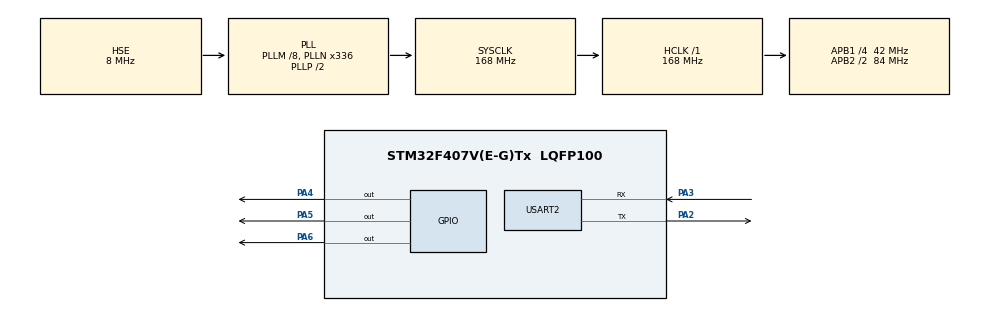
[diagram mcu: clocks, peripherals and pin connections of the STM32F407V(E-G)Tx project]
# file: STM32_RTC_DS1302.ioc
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Mcu.Family=STM32F4
Mcu.Name=STM32F407V(E-G)Tx
Mcu.Package=LQFP100
NVIC.PriorityGroup=NVIC_PRIORITYGROUP_0
PA13.Mode=Serial_Wire
PA13.Signal=SYS_JTMS-SWDIO
PA14.Mode=Serial_Wire
PA14.Signal=SYS_JTCK-SWCLK
PA2.Mode=Asynchronous
PA2.Signal=USART2_TX
PA3.Mode=Asynchronous
PA3.Signal=USART2_RX
PA4.Signal=GPIO_Output
PA5.Signal=GPIO_Output
PA6.Signal=GPIO_Output
PH0-OSC_IN.Mode=HSE-External-Oscillator
PH0-OSC_IN.Signal=RCC_OSC_IN
PH1-OSC_OUT.Mode=HSE-External-Oscillator
PH1-OSC_OUT.Signal=RCC_OSC_OUT
ProjectManager.HeapSize=0x200
ProjectManager.StackSize=0x400
ProjectManager.TargetToolchain=STM32CubeIDE
RCC.48MHZClocksFreq_Value=48000000
RCC.AHBFreq_Value=168000000
RCC.APB1CLKDivider=RCC_HCLK_DIV4
RCC.APB1Freq_Value=42000000
RCC.APB1TimFreq_Value=84000000
RCC.APB2CLKDivider=RCC_HCLK_DIV2
RCC.APB2Freq_Value=84000000
RCC.APB2TimFreq_Value=168000000
RCC.CortexFreq_Value=168000000
RCC.HCLKFreq_Value=168000000
RCC.HSE_VALUE=8000000
RCC.HSI_VALUE=16000000
RCC.LSE_VALUE=32768
RCC.PLLM=8
RCC.PLLN=336
RCC.PLLQ=7
RCC.PLLSourceVirtual=RCC_PLLSOURCE_HSE
RCC.SYSCLKFreq_VALUE=168000000
RCC.SYSCLKSource=RCC_SYSCLKSOURCE_PLLCLK
RCC.VCOOutputFreq_Value=336000000
USART2.VirtualMode=VM_ASYNC
board=STM32F407G-DISC1

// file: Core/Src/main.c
/* USER CODE BEGIN Header */
/**
  ******************************************************************************
  * @file           : main.c
  * @brief          : Main program body
  ******************************************************************************
  * @attention
  *
  * Copyright (c) 2025 STMicroelectronics.
  * All rights reserved.
  *
  * This software is licensed under terms that can be found in the LICENSE file
  * in the root directory of this software component.
  * If no LICENSE file comes with this software, it is provided AS-IS.
  *
  ******************************************************************************
  */
/* USER CODE END Header */
#include "main.h"

UART_HandleTypeDef huart2;

void SystemClock_Config(void);
static void MX_GPIO_Init(void);
static void MX_USART2_UART_Init(void);

/* USER CODE BEGIN 0 */

#include "usart_printf.h" 		//For debugging
#include "DS1302.h"

#define GPIO_CE_pin  	GPIO_PIN_4
#define GPIO_CE_port 	GPIOA

#define GPIO_IO_pin  	GPIO_PIN_5
#define GPIO_IO_port 	GPIOA

#define GPIO_SCLK_pin  	GPIO_PIN_6
#define GPIO_SCLK_port 	GPIOA

char* Days[] = {0, "MON", "TUE", "WED", "THU", "FRI", "SAT", "SUN"};

/* USER CODE END 0 */

int main(void)
{

  /* MCU Configuration--------------------------------------------------------*/

  /* Reset of all peripherals, Initializes the Flash interface and the Systick. */
  HAL_Init();

  /* Configure the system clock */
  SystemClock_Config();

  /* Initialize all configured peripherals */
  MX_GPIO_Init();
  MX_USART2_UART_Init();
  /* USER CODE BEGIN 2 */

  usart_printf_init(&huart2);

  DS1302_HandleTypeDef rtc = {
		  .CE_Pin = 	{GPIO_CE_port, GPIO_CE_pin},
		  .IO_Pin = 	{GPIO_IO_port, GPIO_IO_pin},
		  .SCLK_Pin = 	{GPIO_SCLK_port, GPIO_SCLK_pin}
  };

  ds1302_init(&rtc);

  /*
  //SETTING THE TIME DATE
  DS1302_TimeRecord datetime={
		  .sec=0,
		  .min=29,
		  .hour={.hour=1,.meridiem=NONE},
		  .date=10,
		  .month=6,
		  .year=25,
		  .day=TUE
  };

  ds1302_setTimeDate(&rtc, datetime);
*/

  /* USER CODE END 2 */
  /* Infinite loop */
  while (1)
  {
    /* USER CODE BEGIN 3 */
	  DS1302_TimeRecord now = ds1302_getDateTime(&rtc);

	  /*
	  printf("%02d-%02d-%02d %s %02d:%02d:%02d ", now.date, now.month, now.year, Days[now.day], now.hour.hour, now.min, now.sec);
	  if(now.hour.meridiem!=NONE) printf("%s", (now.hour.meridiem==AM)?"AM":"PM");
	  printf("\n");
	  */

	  printf("%s\n", DS1302_getDateTime_ISO(&rtc, now));

	  HAL_Delay(1000);
  }
  /* USER CODE END 3 */
}

void SystemClock_Config(void)
{
  RCC_OscInitTypeDef RCC_OscInitStruct = {0};
  RCC_ClkInitTypeDef RCC_ClkInitStruct = {0};

  /** Configure the main internal regulator output voltage
  */
  __HAL_RCC_PWR_CLK_ENABLE();
  __HAL_PWR_VOLTAGESCALING_CONFIG(PWR_REGULATOR_VOLTAGE_SCALE1);

  /** Initializes the RCC Oscillators according to the specified parameters
  * in the RCC_OscInitTypeDef structure.
  */
  RCC_OscInitStruct.OscillatorType = RCC_OSCILLATORTYPE_HSE;
  RCC_OscInitStruct.HSEState = RCC_HSE_ON;
  RCC_OscInitStruct.PLL.PLLState = RCC_PLL_ON;
  RCC_OscInitStruct.PLL.PLLSource = RCC_PLLSOURCE_HSE;
  RCC_OscInitStruct.PLL.PLLM = 8;
  RCC_OscInitStruct.PLL.PLLN = 336;
  RCC_OscInitStruct.PLL.PLLP = RCC_PLLP_DIV2;
  RCC_OscInitStruct.PLL.PLLQ = 7;
  if (HAL_RCC_OscConfig(&RCC_OscInitStruct) != HAL_OK)
  {
    Error_Handler();
  }

  /** Initializes the CPU, AHB and APB buses clocks
  */
  RCC_ClkInitStruct.ClockType = RCC_CLOCKTYPE_HCLK|RCC_CLOCKTYPE_SYSCLK
                              |RCC_CLOCKTYPE_PCLK1|RCC_CLOCKTYPE_PCLK2;
  RCC_ClkInitStruct.SYSCLKSource = RCC_SYSCLKSOURCE_PLLCLK;
  RCC_ClkInitStruct.AHBCLKDivider = RCC_SYSCLK_DIV1;
  RCC_ClkInitStruct.APB1CLKDivider = RCC_HCLK_DIV4;
  RCC_ClkInitStruct.APB2CLKDivider = RCC_HCLK_DIV2;

  if (HAL_RCC_ClockConfig(&RCC_ClkInitStruct, FLASH_LATENCY_5) != HAL_OK)
  {
    Error_Handler();
  }
}

static void MX_USART2_UART_Init(void)
{

  huart2.Instance = USART2;
  huart2.Init.BaudRate = 115200;
  huart2.Init.WordLength = UART_WORDLENGTH_8B;
  huart2.Init.StopBits = UART_STOPBITS_1;
  huart2.Init.Parity = UART_PARITY_NONE;
  huart2.Init.Mode = UART_MODE_TX_RX;
  huart2.Init.HwFlowCtl = UART_HWCONTROL_NONE;
  huart2.Init.OverSampling = UART_OVERSAMPLING_16;
  if (HAL_UART_Init(&huart2) != HAL_OK)
  {
    Error_Handler();
  }

}

static void MX_GPIO_Init(void)
{
  GPIO_InitTypeDef GPIO_InitStruct = {0};

  /* GPIO Ports Clock Enable */
  __HAL_RCC_GPIOH_CLK_ENABLE();
  __HAL_RCC_GPIOA_CLK_ENABLE();

  /*Configure GPIO pin Output Level */
  HAL_GPIO_WritePin(GPIOA, GPIO_PIN_4|GPIO_PIN_5|GPIO_PIN_6, GPIO_PIN_RESET);

  /*Configure GPIO pins : PA4 PA5 PA6 */
  GPIO_InitStruct.Pin = GPIO_PIN_4|GPIO_PIN_5|GPIO_PIN_6;
  GPIO_InitStruct.Mode = GPIO_MODE_OUTPUT_PP;
  GPIO_InitStruct.Pull = GPIO_NOPULL;
  GPIO_InitStruct.Speed = GPIO_SPEED_FREQ_LOW;
  HAL_GPIO_Init(GPIOA, &GPIO_InitStruct);

}

void Error_Handler(void)
{
  __disable_irq();
  while (1)
  {
  }
}
